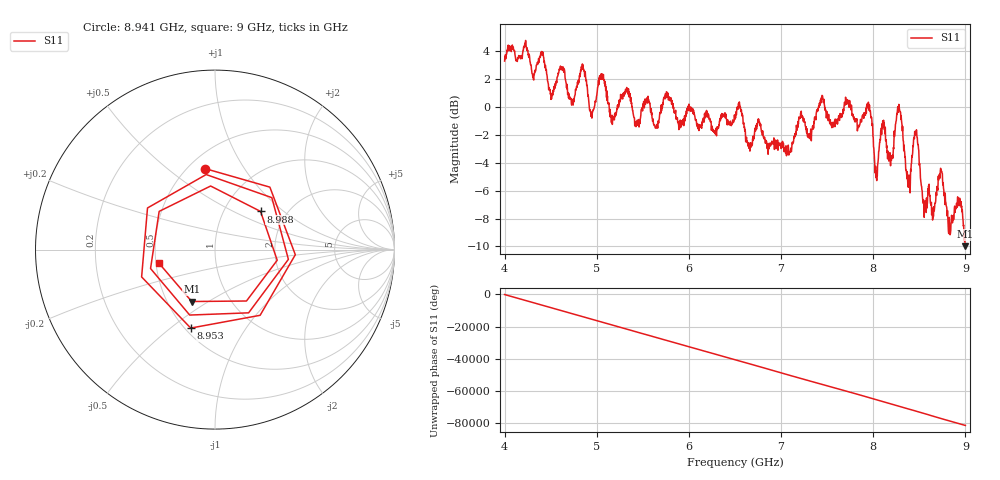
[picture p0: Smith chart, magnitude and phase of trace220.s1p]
! Created with skrf 1.8.0 (http://scikit-rf.org).
# Hz S RI R 50.0
!freq ReS11 ImS11
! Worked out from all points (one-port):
!   1601 points, 4 GHz to 9 GHz, reference 50 ohm
!   lowest |S11| = -10.0 dB at 8.997 GHz (marker M1), VSWR 1.93, Z = 33.1 - j21.3 ohm
!   |S11| at or under -10 dB: nowhere
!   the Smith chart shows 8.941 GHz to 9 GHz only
!   S11 on the Smith chart (normalised r, x): 8.941 GHz: 0.61, +0.69; 8.953 GHz: 0.53, -0.59; 8.988 GHz: 1.48, +0.71; 9 GHz: 0.52, -0.08
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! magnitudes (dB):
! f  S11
! 4 GHz  3.3
! 4.406 GHz  3.9
! 4.506 GHz  0.7
! 4.625 GHz  2.8
! 4.728 GHz  0.1
! 4.85 GHz  3.0
! 4.944 GHz  -0.5
! 5.05 GHz  2.0
! 5.162 GHz  -0.8
! 5.25 GHz  0.4
! 5.875 GHz  -0.8
! 6.5 GHz  -0.6
! 7.125 GHz  -2.6
! 7.75 GHz  0.2
! 7.953 GHz  -0.1
! 8.034 GHz  -4.9
! 8.194 GHz  -3.5
! 8.281 GHz  0.1
! 8.375 GHz  -5.5
! 8.462 GHz  -1.8
! 8.559 GHz  -6.8
! 8.731 GHz  -4.4
! 8.834 GHz  -9.2
! 8.941 GHz  -6.9
! 8.953 GHz  -6.8
! 8.988 GHz  -9.6
! 8.997 GHz  -10.0
! 9 GHz  -9.8
